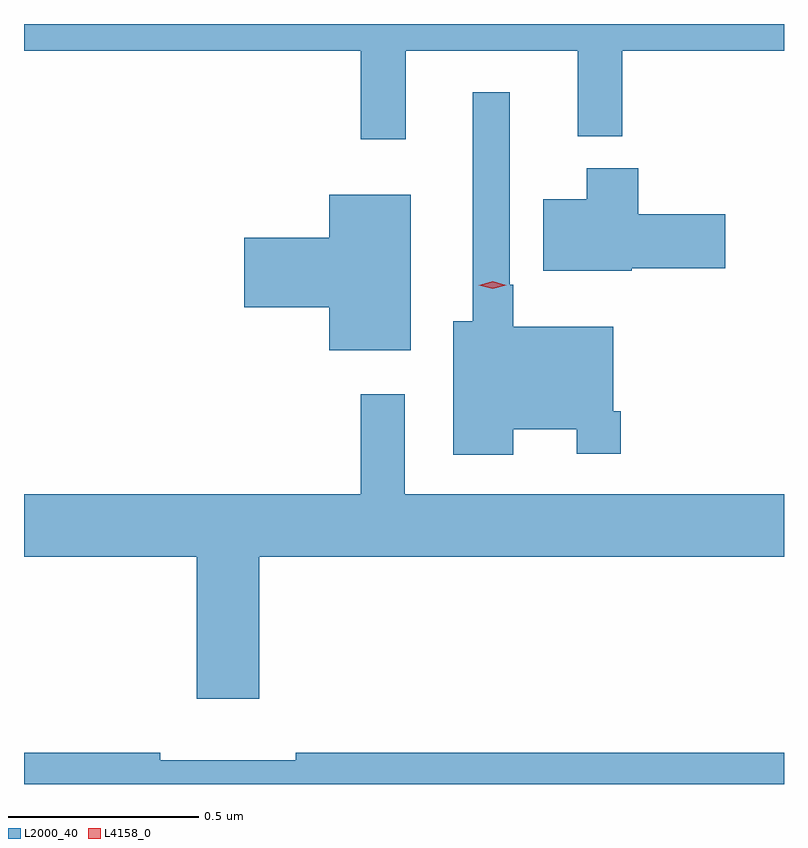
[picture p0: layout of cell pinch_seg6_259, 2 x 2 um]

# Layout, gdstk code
import gdstk
lib = gdstk.Library(unit=1e-6, precision=1e-09)
def P(c, l, *ps):  # polygons
    for p in ps: c.add(gdstk.Polygon(p, *l))
L2000_40 = (2000, 40)
L4158_0 = (4158, 0)

pinch_seg6_259 = lib.new_cell('pinch_seg6_259')
P(pinch_seg6_259, L2000_40, [(1112.609,923.36),(1113.062,923.36),(1113.062,923.135),(1113.179,923.135),(1113.179,923.36),(1113.605,923.36),(1113.605,923.43),(1111.605,923.43),(1111.605,923.36),(1112.491,923.36),(1112.491,923.127),(1112.609,923.127)],
  [(1112.893,922.364),(1113.059,922.364),(1113.059,922.299),(1113.176,922.299),(1113.176,922.411),(1113.156,922.411),(1113.156,922.633),(1112.893,922.633),(1112.893,922.744),(1112.883,922.744),(1112.883,923.251),(1112.786,923.251),(1112.786,922.648),(1112.735,922.648),(1112.735,922.296),(1112.893,922.296)],
  [(1113.204,922.787),(1113.451,922.787),(1113.451,922.929),(1113.221,922.929),(1113.221,923.05),(1113.086,923.05),(1113.086,922.969),(1112.972,922.969),(1112.972,922.781),(1113.204,922.781)],
  [(1112.623,922.981),(1112.408,922.981),(1112.408,922.868),(1112.184,922.868),(1112.184,922.685),(1112.408,922.685),(1112.408,922.571),(1112.623,922.571)],
  [(1112.224,922.028),(1113.605,922.028),(1113.605,922.192),(1112.607,922.192),(1112.607,922.456),(1112.491,922.456),(1112.491,922.192),(1111.605,922.192),(1111.605,922.028),(1112.06,922.028),(1112.06,921.654),(1112.224,921.654)],
  [(1113.605,921.512),(1112.32,921.512),(1112.32,921.493),(1111.964,921.493),(1111.964,921.512),(1111.605,921.512),(1111.605,921.43),(1113.605,921.43)])
P(pinch_seg6_259, L4158_0, [(1112.838,922.733),(1112.802,922.743),(1112.802,922.743),(1112.802,922.743),(1112.838,922.753),(1112.874,922.743),(1112.874,922.743),(1112.874,922.743)])

lib.write_gds('pinch_seg6_259.gds')
